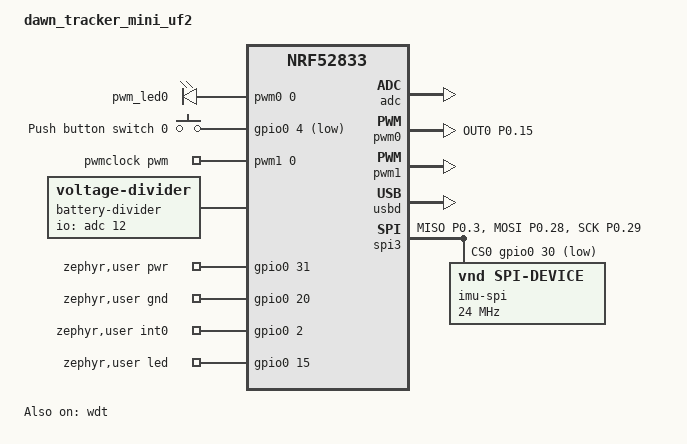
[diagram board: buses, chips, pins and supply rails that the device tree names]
// Copyright (c) 2026
// SPDX-License-Identifier: Apache-2.0

/dts-v1/;
#include <nordic/nrf52833_qdaa.dtsi>

&pinctrl {
	pwm0_default: pwm0_default {
		group1 {
			psels = <NRF_PSEL(PWM_OUT0, 0, 15)>;
			nordic,drive-mode = <NRF_DRIVE_D0S1>;
		};
	};

	pwm0_sleep: pwm0_sleep {
		group1 {
			psels = <NRF_PSEL(PWM_OUT0, 0, 15)>;
			low-power-enable;
		};
	};

	pwm1_default: pwm1_default {
		group1 {
			psels = <NRF_PIN_DISCONNECTED>;
		};
	};

	pwm1_sleep: pwm1_sleep {
		group1 {
			psels = <NRF_PIN_DISCONNECTED>;
			low-power-enable;
		};
	};

	spi3_default: spi3_default {
		group1 {
			psels = <NRF_PSEL(SPIM_MISO, 0, 3)>,
				<NRF_PSEL(SPIM_MOSI, 0, 28)>,
				<NRF_PSEL(SPIM_SCK, 0, 29)>;
		};
	};

	spi3_sleep: spi3_sleep {
		group1 {
			psels = <NRF_PSEL(SPIM_MISO, 0, 3)>,
				<NRF_PSEL(SPIM_MOSI, 0, 28)>,
				<NRF_PSEL(SPIM_SCK, 0, 29)>;
			low-power-enable;
		};
	};
};

/ {
	model = "dawn_tracker_mini_uf2";
	compatible = "dawn_tracker_mini_uf2";

	chosen {
		zephyr,sram = &sram0;
		zephyr,flash = &flash0;
		zephyr,console = &cdc_acm_uart0;
		zephyr,shell-uart = &cdc_acm_uart0;
	};

	pwmleds {
		compatible = "pwm-leds";
		pwm_led0: pwm_led_0 {
			pwms = <&pwm0 0 PWM_MSEC(1) PWM_POLARITY_NORMAL>;
		};
	};

	buttons {
		compatible = "gpio-keys";
		button0: button_0 {
			gpios = <&gpio0 4 (GPIO_PULL_UP | GPIO_ACTIVE_LOW)>;
			label = "Push button switch 0";
		};
	};

	aliases {
		sw0 = &button0;
		pwm-led0 = &pwm_led0;
	};

	pwmclock: pwmclock {
		compatible = "pwm-clock";
		#clock-cells = <1>;
		pwms = <&pwm1 0 PWM_HZ(32768) PWM_POLARITY_NORMAL>;
	};

	battery-divider {
		compatible = "voltage-divider";
		status = "okay";
		io-channels = <&adc 12>;
		output-ohms = <1>;
		full-ohms = <5>;
	};

	zephyr,user {
		pwr-gpios = <&gpio0 31 GPIO_OPEN_SOURCE>;
		gnd-gpios = <&gpio0 20 GPIO_OPEN_DRAIN>;
		int0-gpios = <&gpio0 2 GPIO_PULL_UP>;
		led-gpios = <&gpio0 15 GPIO_OPEN_SOURCE>;
	};
};

&reg1 {
	regulator-initial-mode = <NRF5X_REG_MODE_DCDC>;
};

&adc {
	status = "okay";
};

&gpiote {
	status = "okay";
};

&gpio0 {
	status = "okay";
};

&gpio1 {
	status = "okay";
};

&pwm0 {
	status = "okay";
	pinctrl-0 = <&pwm0_default>;
	pinctrl-1 = <&pwm0_sleep>;
	pinctrl-names = "default", "sleep";
};

&pwm1 {
	status = "okay";
	pinctrl-0 = <&pwm1_default>;
	pinctrl-1 = <&pwm1_sleep>;
	pinctrl-names = "default", "sleep";
};

zephyr_udc0: &usbd {
	compatible = "nordic,nrf-usbd";
	status = "okay";
	cdc_acm_uart0: cdc_acm_uart0 {
		compatible = "zephyr,cdc-acm-uart";
	};
};

&wdt {
	status = "okay";
};

&nfct {
	status = "disabled";
};

&spi3 {
	compatible = "nordic,nrf-spim";
	status = "okay";
	max-frequency = <DT_FREQ_M(24)>;
	pinctrl-0 = <&spi3_default>;
	pinctrl-1 = <&spi3_sleep>;
	pinctrl-names = "default", "sleep";
	cs-gpios = <&gpio0 30 GPIO_ACTIVE_LOW>;

	imu_spi: imu_spi@0 {
		compatible = "vnd,spi-device";
		spi-max-frequency = <DT_FREQ_M(24)>;
		label = "imu-spi";
		reg = <0>;
	};
};
